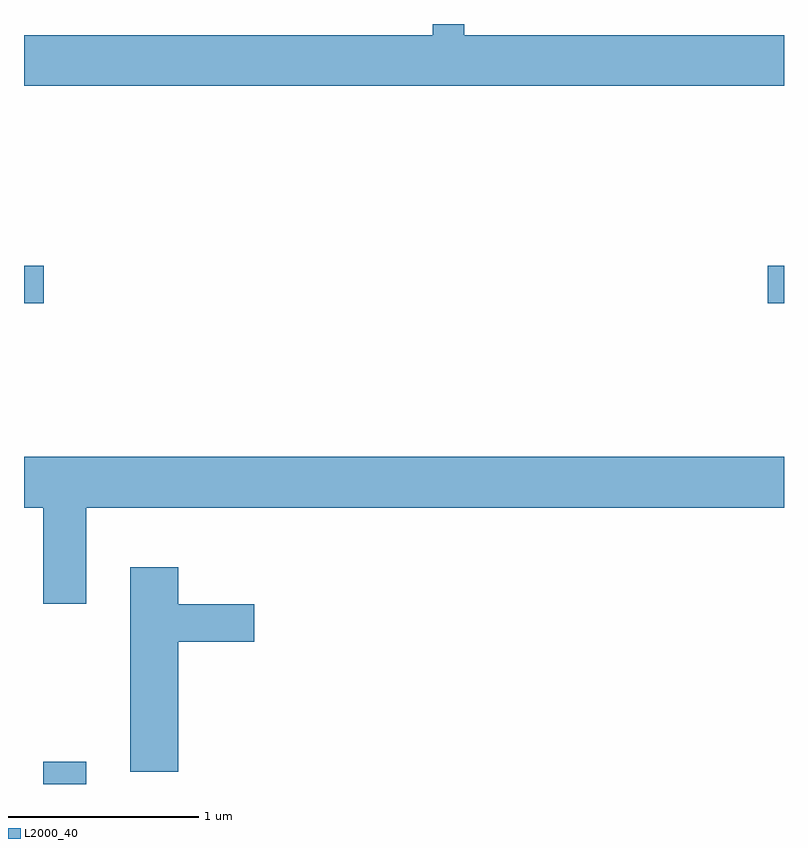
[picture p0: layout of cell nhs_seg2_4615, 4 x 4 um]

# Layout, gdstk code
import gdstk
lib = gdstk.Library(unit=1e-6, precision=1e-09)
def R(c, l, rs):  # rectangles x0, y0, x1, y1
    for r in rs: c.add(gdstk.rectangle(r[:2], r[2:], *l))
def P(c, l, *ps):  # polygons
    for p in ps: c.add(gdstk.Polygon(p, *l))
L2000_40 = (2000, 40)

nhs_seg2_4615 = lib.new_cell('nhs_seg2_4615')
R(nhs_seg2_4615, L2000_40, [(321.711,995.802,321.939,995.919), (321.611,998.331,321.714,998.529), (325.526,998.331,325.611,998.529)])
P(nhs_seg2_4615, L2000_40, [(325.611,999.744),(323.929,999.744),(323.929,999.802),(323.761,999.802),(323.761,999.744),(321.611,999.744),(321.611,999.476),(325.611,999.476)],
  [(321.939,997.256),(325.611,997.256),(325.611,997.524),(321.611,997.524),(321.611,997.256),(321.711,997.256),(321.711,996.751),(321.939,996.751)],
  [(322.424,996.551),(322.824,996.551),(322.824,996.749),(322.424,996.749),(322.424,996.944),(322.171,996.944),(322.171,995.866),(322.424,995.866)])

lib.write_gds('nhs_seg2_4615.gds')
